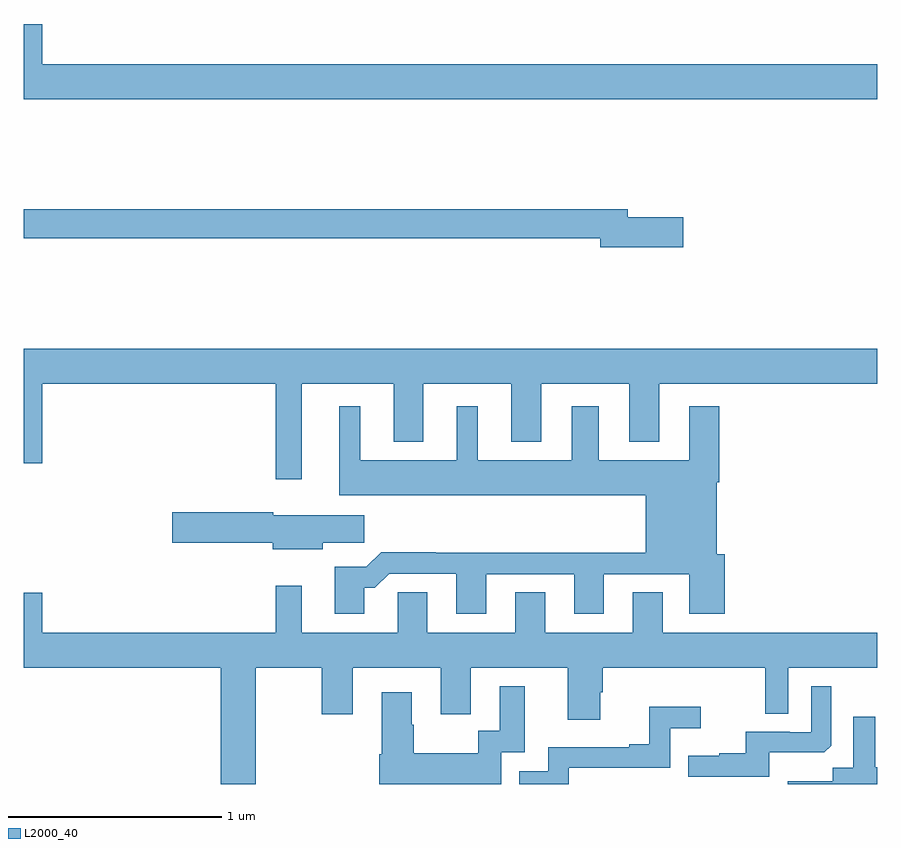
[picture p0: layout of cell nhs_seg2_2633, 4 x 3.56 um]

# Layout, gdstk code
import gdstk
lib = gdstk.Library(unit=1e-6, precision=1e-09)
def P(c, l, *ps):  # polygons
    for p in ps: c.add(gdstk.Polygon(p, *l))
L2000_40 = (2000, 40)

nhs_seg2_2633 = lib.new_cell('nhs_seg2_2633')
P(nhs_seg2_2633, L2000_40, [(253,609.172),(249.088,609.172),(249.088,609.361),(249,609.361),(249,609.008),(253,609.008)],
  [(252.091,608.456),(251.83,608.456),(251.83,608.492),(249,608.492),(249,608.356),(251.702,608.356),(251.702,608.314),(252.091,608.314)],
  [(250.303,607.676),(250.733,607.676),(250.733,607.403),(250.873,607.403),(250.873,607.676),(251.285,607.676),(251.285,607.403),(251.425,607.403),(251.425,607.676),(251.837,607.676),(251.837,607.403),(251.977,607.403),(251.977,607.676),(253,607.676),(253,607.84),(249,607.84),(249,607.302),(249.088,607.302),(249.088,607.676),(250.182,607.676),(250.182,607.227),(250.303,607.227)],
  [(250.597,606.719),(250.646,606.719),(250.713,606.786),(251.027,606.786),(251.027,606.597),(251.167,606.597),(251.167,606.783),(251.579,606.783),(251.579,606.597),(251.719,606.597),(251.719,606.783),(252.119,606.783),(252.119,606.597),(252.284,606.597),(252.284,606.876),(252.247,606.876),(252.247,607.214),(252.26,607.214),(252.26,607.57),(252.119,607.57),(252.119,607.318),(251.695,607.318),(251.695,607.57),(251.567,607.57),(251.567,607.318),(251.128,607.318),(251.128,607.57),(251.03,607.57),(251.03,607.318),(250.576,607.318),(250.576,607.57),(250.478,607.57),(250.478,607.154),(251.915,607.154),(251.915,606.884),(250.931,606.884),(250.931,606.887),(250.676,606.887),(250.606,606.817),(250.457,606.817),(250.457,606.597),(250.597,606.597)],
  [(250.402,606.931),(250.597,606.931),(250.597,607.06),(250.17,607.06),(250.17,607.073),(249.696,607.073),(249.696,606.931),(250.166,606.931),(250.166,606.899),(250.402,606.899)],
  [(250.087,606.344),(250.396,606.344),(250.396,606.126),(250.543,606.126),(250.543,606.344),(250.955,606.344),(250.955,606.126),(251.095,606.126),(251.095,606.344),(251.549,606.344),(251.549,606.102),(251.701,606.102),(251.701,606.231),(251.714,606.231),(251.714,606.344),(252.474,606.344),(252.474,606.13),(252.582,606.13),(252.582,606.344),(253,606.344),(253,606.508),(251.995,606.508),(251.995,606.698),(251.855,606.698),(251.855,606.508),(251.443,606.508),(251.443,606.698),(251.303,606.698),(251.303,606.508),(250.891,606.508),(250.891,606.698),(250.752,606.698),(250.752,606.508),(250.303,606.508),(250.303,606.73),(250.182,606.73),(250.182,606.508),(249.088,606.508),(249.088,606.697),(249,606.697),(249,606.344),(249.923,606.344),(249.923,605.8),(250.087,605.8)],
  [(252.493,605.948),(252.751,605.948),(252.783,605.979),(252.783,606.259),(252.69,606.259),(252.69,606.042),(252.59,606.042),(252.59,606.045),(252.383,606.045),(252.383,605.944),(252.259,605.944),(252.259,605.932),(252.115,605.932),(252.115,605.835),(252.493,605.835)],
  [(251.238,605.949),(251.347,605.949),(251.347,606.259),(251.231,606.259),(251.231,606.05),(251.13,606.05),(251.13,605.944),(250.827,605.944),(250.827,606.078),(250.819,606.078),(250.819,606.229),(250.679,606.229),(250.679,605.94),(250.667,605.94),(250.667,605.8),(251.238,605.8)],
  [(251.553,605.877),(252.03,605.877),(252.03,606.062),(252.172,606.062),(252.172,606.161),(251.932,606.161),(251.932,605.986),(251.837,605.986),(251.837,605.973),(251.457,605.973),(251.457,605.859),(251.323,605.859),(251.323,605.8),(251.553,605.8)],
  [(253,605.878),(252.991,605.878),(252.991,606.115),(252.887,606.115),(252.887,605.876),(252.792,605.876),(252.792,605.812),(252.581,605.812),(252.581,605.8),(253,605.8)])

lib.write_gds('nhs_seg2_2633.gds')
